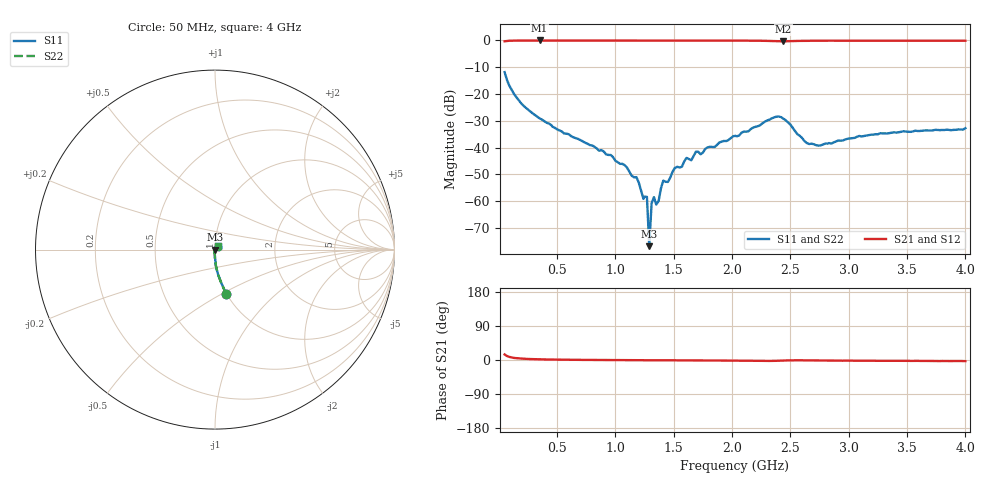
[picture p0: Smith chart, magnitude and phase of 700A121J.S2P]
!  American Technical Ceramics  Date:  3/13/98
!  One Norden Lane
!  Huntington Station,  NY.  11746-2102
!  Tel:  (516) 547-5700  Fax:  (516) 547-5748
!  Part Number  700A121J
!  Description: Porcelain, High Q, Low ESR
!  Application: Bypass, Coupling, Timing, Feedback
!  Tuning, Impedance Match, Blocking
# GHZ S DB R 50
! Freq  |S11|  S11 Ph  |S21|  S21 Ph  |S12|  S12 Ph  |S22|  S22 Ph
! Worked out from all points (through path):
!   201 points, 50 MHz to 4 GHz, reference 50 ohm
!   highest |S21| = 0.01 dB at 350 MHz (marker M1); lowest = -0.3 dB at 2.44 GHz (marker M2)
!   lowest |S11| = -76.8 dB at 1.29 GHz (marker M3), VSWR 1.00, Z = 50 - j0.0101 ohm
!   |S11| at or under -10 dB: start of sweep to end of sweep
!   |S22| runs from -76.8 to -11.8 dB; largest |S21 - S12| = 0
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0.05  -11.82 -75.9  -0.30 14.6  -0.30 14.6  -11.82 -75.9
0.15  -21.16 -87.2  -0.02 4.9  -0.02 4.9  -21.16 -87.2
0.35  -29.07 -91.4  0.01 1.8  0.01 1.8  -29.07 -91.4
0.72  -37.68 -95.6  -0.01 0.3  -0.01 0.3  -37.68 -95.6
0.96  -42.74 -97.4  -0.01 -0.0  -0.01 -0.0  -42.74 -97.4
1.18  -51.06 -91.8  0.00 -0.4  0.00 -0.4  -51.06 -91.8
1.24  -59.13 -75.1  -0.02 -0.6  -0.02 -0.6  -59.13 -75.1
1.27  -58.39 -70.6  -0.02 -0.6  -0.02 -0.6  -58.39 -70.6
1.29  -76.81 -135.5  -0.02 -0.7  -0.02 -0.7  -76.81 -135.5
1.31  -60.86 63.6  -0.03 -0.6  -0.03 -0.6  -60.86 63.6
1.33  -58.49 24.0  -0.04 -0.7  -0.04 -0.7  -58.49 24.0
1.35  -61.27 31.5  -0.02 -0.7  -0.02 -0.7  -61.27 31.5
1.37  -59.97 62.9  -0.01 -0.8  -0.01 -0.8  -59.97 62.9
1.41  -52.33 58.0  -0.02 -0.7  -0.02 -0.7  -52.33 58.0
1.45  -52.83 71.5  -0.01 -0.8  -0.01 -0.8  -52.83 71.5
1.51  -47.55 68.5  -0.01 -0.8  -0.01 -0.8  -47.55 68.5
1.61  -43.85 71.5  -0.02 -1.0  -0.02 -1.0  -43.85 71.5
2.03  -35.63 66.5  -0.03 -1.7  -0.03 -1.7  -35.63 66.5
2.44  -29.24 10.5  -0.30 -1.5  -0.30 -1.5  -29.24 10.5
2.7  -38.73 17.3  -0.10 -1.1  -0.10 -1.1  -38.73 17.3
3.35  -34.59 56.7  -0.07 -2.1  -0.07 -2.1  -34.59 56.7
4  -32.74 52.2  -0.10 -3.0  -0.10 -3.0  -32.74 52.2
